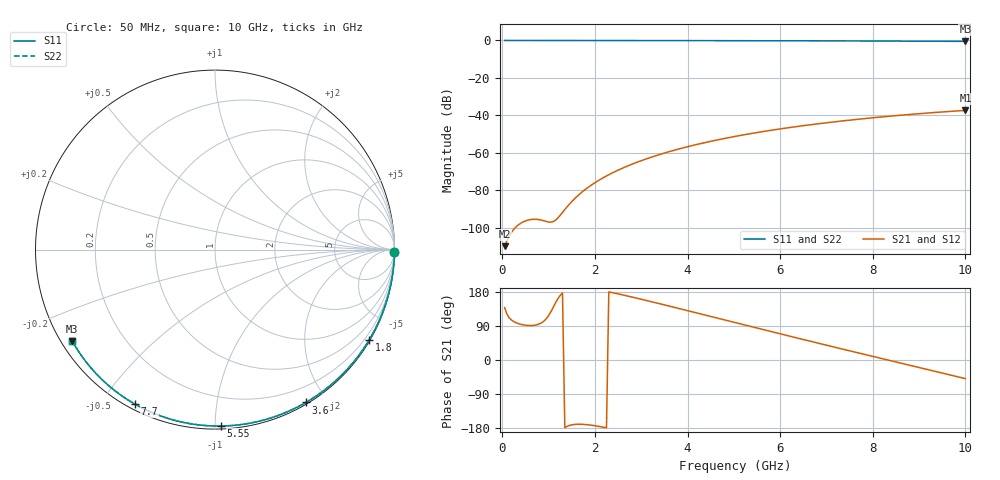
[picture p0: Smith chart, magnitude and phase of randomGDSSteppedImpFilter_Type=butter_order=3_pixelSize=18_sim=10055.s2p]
! freq	dB(S11)	phase(S11)	dB(S12)	phase(S12)
!  dB(S21)	phase(S21)	dB(S22)	phase(S22)
!S-par simulation data
#  GHz  S  DB  R 50
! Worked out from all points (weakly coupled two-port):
!   200 points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, 50 MHz to 10 GHz, reference 50 ohm
!   highest |S21| = -37.40 dB at 10 GHz (marker M1); lowest = -110.0 dB at 50 MHz (marker M2)
!   lowest |S11| = -0.5 dB at 10 GHz (marker M3), VSWR 34.97, Z = 1.55 - j14.6 ohm
!   |S11| at or under -10 dB: nowhere
!   |S22| runs from -0.5 to 0.0 dB; largest |S21 - S12| = 0
!   S11 on the Smith chart (normalised r, x): 50 MHz: open; 1.8 GHz: 0.03, -3.68; 3.6 GHz: 0.02, -1.76; 5.55 GHz: 0.02, -1.03; 7.7 GHz: 0.02, -0.61; 10 GHz: 0.03, -0.29
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0.05  -0.00 -0.9  -109.97 138.4  -109.97 138.4  -0.00 -0.9
0.45  -0.01 -7.7  -97.00 92.8  -97.00 92.8  -0.01 -7.7
0.9  -0.02 -15.3  -96.43 102.8  -96.43 102.8  -0.02 -15.3
1.3  -0.03 -22.1  -91.92 176.8  -91.92 176.8  -0.03 -22.1
1.75  -0.04 -29.6  -80.46 -169.8  -80.46 -169.8  -0.04 -29.6
1.8  -0.04 -30.4  -79.49 -170.3  -79.49 -170.3  -0.04 -30.4
1.95  -0.04 -32.9  -76.85 -172.5  -76.85 -172.5  -0.04 -32.9
2.1  -0.04 -35.3  -74.52 -175.5  -74.52 -175.5  -0.04 -35.3
2.3  -0.05 -38.6  -71.77 179.8  -71.77 179.8  -0.05 -38.6
2.5  -0.05 -41.8  -69.33 174.6  -69.33 174.6  -0.05 -41.8
2.9  -0.06 -48.2  -65.18 163.3  -65.18 163.3  -0.06 -48.2
3.4  -0.07 -56.1  -60.95 148.5  -60.95 148.5  -0.07 -56.1
3.6  -0.08 -59.2  -59.47 142.4  -59.47 142.4  -0.08 -59.2
4.3  -0.10 -69.9  -55.02 121.0  -55.02 121.0  -0.10 -69.9
5.05  -0.12 -81.0  -51.18 98.0  -51.18 98.0  -0.12 -81.0
5.55  -0.14 -88.1  -49.02 82.8  -49.02 82.8  -0.14 -88.2
6.1  -0.17 -95.9  -46.92 66.1  -46.92 66.1  -0.17 -95.9
6.7  -0.20 -104.1  -44.91 48.0  -44.91 48.0  -0.20 -104.1
7.7  -0.27 -117.5  -42.08 18.3  -42.08 18.3  -0.27 -117.5
8.35  -0.32 -126.0  -40.52 -0.8  -40.52 -0.8  -0.32 -126.0
9.2  -0.40 -137.0  -38.76 -25.7  -38.76 -25.7  -0.41 -137.1
10  -0.50 -147.4  -37.40 -49.2  -37.40 -49.2  -0.50 -147.4
